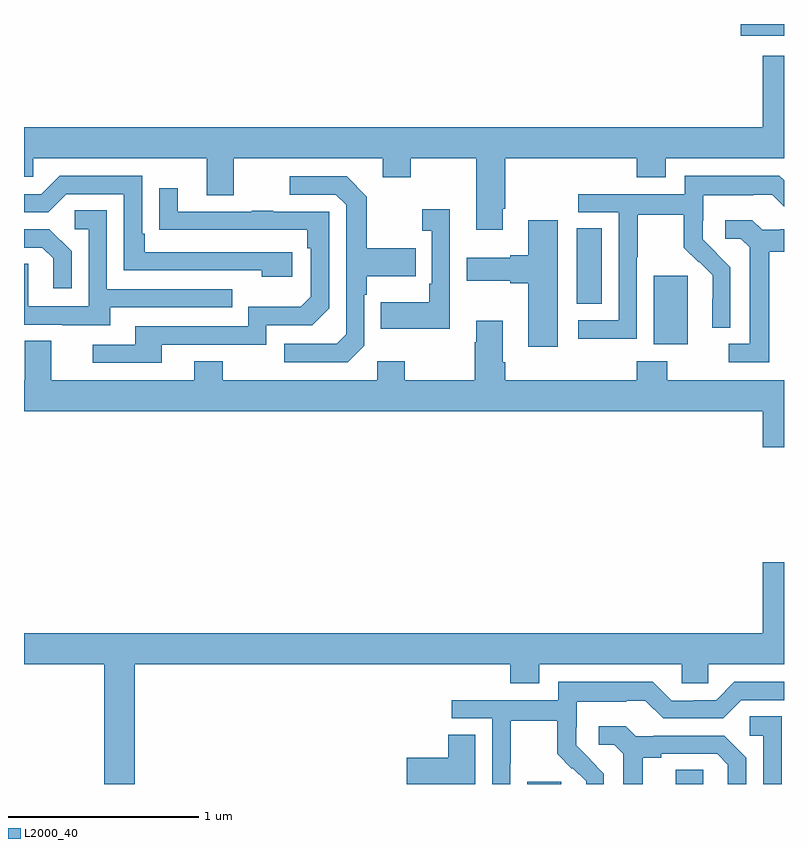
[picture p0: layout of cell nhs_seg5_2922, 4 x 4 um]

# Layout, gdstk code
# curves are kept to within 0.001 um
import gdstk
lib = gdstk.Library(unit=1e-6, precision=1e-09)
def R(c, l, rs):  # rectangles x0, y0, x1, y1
    for r in rs: c.add(gdstk.rectangle(r[:2], r[2:], *l))
def P(c, l, *ps):  # polygons
    for p in ps: c.add(gdstk.Polygon(p, *l))
L2000_40 = (2000, 40)

nhs_seg5_2922 = lib.new_cell('nhs_seg5_2922')
R(nhs_seg5_2922, L2000_40, [(283.649,854.799,283.828,854.811), (284.429,854.799,284.574,854.873), (284.315,857.114,284.494,857.475), (283.91,857.326,284.041,857.723), (284.772,858.737,285,858.799)])
P(nhs_seg5_2922, L2000_40, [(283.519,857.827),(283.532,857.827),(283.532,858.092),(284.225,858.092),(284.225,857.993),(284.377,857.993),(284.377,858.092),(285,858.092),(285,858.631),(284.888,858.631),(284.888,858.256),(281,858.256),(281,857.994),(281.049,857.994),(281.049,858.092),(281.963,858.092),(281.963,857.898),(282.103,857.898),(282.103,858.092),(282.887,858.092),(282.887,857.993),(283.035,857.993),(283.035,858.092),(283.379,858.092),(283.379,857.715),(283.519,857.715)],
  [(284.226,857.572),(284.229,857.572),(284.229,857.796),(284.473,857.796),(284.473,857.621),(284.55,857.544),(284.553,857.547),(284.624,857.477),(284.624,857.354),(284.622,857.354),(284.622,857.2),(284.718,857.2),(284.718,857.518),(284.572,857.666),(284.572,857.763),(284.574,857.763),(284.574,857.897),(284.837,857.897),(284.837,857.901),(284.937,857.901),(285,857.838),(285,857.976),(284.975,858.001),(284.478,858.001),(284.478,857.904),(283.917,857.904),(283.917,857.808),(284.13,857.808),(284.13,857.241),(283.917,857.241),(283.917,857.143),(284.226,857.143)],
  [(282.412,857.598),(281.635,857.598),(281.635,857.695),(281.622,857.695),(281.622,858),(281.187,858),(281.091,857.904),(281,857.904),(281,857.808),(281.127,857.808),(281.223,857.904),(281.526,857.904),(281.526,857.502),(282.251,857.502),(282.251,857.468),(282.412,857.468)],
  [(282.792,857.106),(282.792,857.375),(282.805,857.375),(282.805,857.471),(283.061,857.471),(283.061,857.619),(282.805,857.619),(282.805,857.891),(282.699,857.997),(282.399,857.997),(282.399,857.901),(282.642,857.901),(282.696,857.847),(282.696,857.166),(282.645,857.115),(282.369,857.115),(282.369,857.019),(282.705,857.019)],
  [(281.725,857.112),(282.276,857.112),(282.276,857.214),(282.516,857.214),(282.606,857.304),(282.606,857.811),(282.311,857.811),(282.311,857.816),(282.199,857.816),(282.199,857.811),(281.809,857.811),(281.809,857.935),(281.713,857.935),(281.713,857.716),(282.49,857.715),(282.49,857.618),(282.51,857.618),(282.51,857.364),(282.457,857.311),(282.18,857.311),(282.18,857.208),(281.585,857.208),(281.585,857.112),(281.361,857.112),(281.361,857.016),(281.725,857.016)],
  [(283.242,857.824),(283.095,857.824),(283.095,857.711),(283.146,857.711),(283.146,857.431),(283.134,857.431),(283.134,857.335),(282.877,857.335),(282.877,857.195),(283.242,857.195)],
  [(281.455,857.307),(282.095,857.307),(282.095,857.403),(281.436,857.403),(281.436,857.819),(281.268,857.819),(281.268,857.718),(281.34,857.718),(281.34,857.313),(281.022,857.313),(281.022,857.537),(281,857.537),(281,857.217),(281.201,857.217),(281.201,857.213),(281.455,857.213)],
  [(284.923,857.6),(285,857.6),(285,857.718),(284.98,857.718),(284.98,857.715),(284.886,857.715),(284.834,857.767),(284.691,857.767),(284.691,857.67),(284.772,857.67),(284.819,857.623),(284.819,857.115),(284.709,857.115),(284.709,857.019),(284.923,857.019)],
  [(283.81,857.767),(283.655,857.767),(283.655,857.582),(283.559,857.582),(283.559,857.569),(283.329,857.569),(283.329,857.447),(283.559,857.447),(283.559,857.435),(283.655,857.435),(283.655,857.1),(283.81,857.1)],
  [(281.25,857.602),(281.134,857.718),(281,857.718),(281,857.622),(281.096,857.622),(281.153,857.565),(281.153,857.409),(281.25,857.409)],
  [(285,856.924),(284.385,856.924),(284.385,857.023),(284.225,857.023),(284.225,856.924),(283.532,856.924),(283.532,857.02),(283.519,857.02),(283.519,857.236),(283.379,857.236),(283.379,857.123),(283.372,857.123),(283.372,856.924),(283.005,856.924),(283.005,857.023),(282.858,857.023),(282.858,856.924),(282.045,856.924),(282.045,857.023),(281.897,857.023),(281.897,856.924),(281.143,856.924),(281.143,857.132),(281.003,857.132),(281.003,856.924),(281,856.924),(281,856.76),(284.888,856.76),(284.888,856.572),(285,856.572)],
  [(281.582,855.428),(283.559,855.428),(283.559,855.329),(283.711,855.329),(283.711,855.428),(284.463,855.428),(284.463,855.33),(284.601,855.33),(284.601,855.428),(285,855.428),(285,855.967),(284.888,855.967),(284.888,855.592),(281,855.592),(281,855.428),(281.422,855.428),(281.422,854.799),(281.582,854.799)],
  [(283.56,854.908),(283.563,854.908),(283.563,855.132),(283.807,855.132),(283.807,854.957),(283.884,854.88),(283.887,854.883),(283.958,854.813),(283.958,854.799),(284.052,854.799),(284.052,854.854),(283.906,855.002),(283.906,855.099),(283.908,855.099),(283.908,855.233),(284.171,855.233),(284.171,855.237),(284.271,855.237),(284.364,855.144),(284.679,855.144),(284.775,855.24),(285,855.24),(285,855.336),(284.739,855.336),(284.643,855.24),(284.525,855.24),(284.525,855.237),(284.409,855.237),(284.309,855.337),(283.812,855.337),(283.812,855.24),(283.251,855.24),(283.251,855.144),(283.464,855.144),(283.464,854.799),(283.56,854.799)],
  [(284.988,855.155),(284.82,855.155),(284.82,855.054),(284.892,855.054),(284.892,854.799),(284.988,854.799)],
  [(284.257,854.936),(284.353,854.936),(284.353,854.958),(284.648,854.958),(284.705,854.901),(284.705,854.799),(284.802,854.799),(284.802,854.938),(284.686,855.054),(284.314,855.054),(284.314,855.051),(284.22,855.051),(284.168,855.103),(284.025,855.103),(284.025,855.006),(284.106,855.006),(284.153,854.959),(284.153,854.799),(284.257,854.799)],
  [(283.375,855.059),(283.232,855.059),(283.232,854.936),(283.014,854.936),(283.014,854.799),(283.375,854.799)])

lib.write_gds('nhs_seg5_2922.gds')
